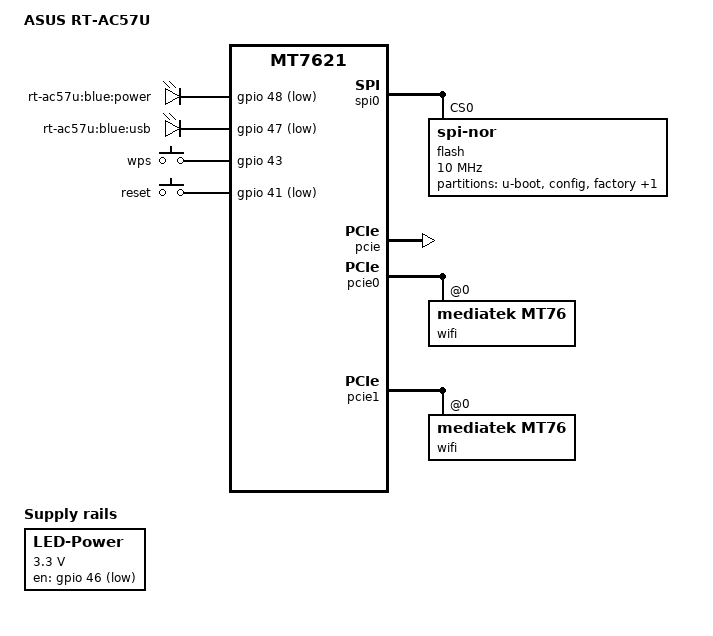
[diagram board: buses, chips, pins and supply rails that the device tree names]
// SPDX-License-Identifier: GPL-2.0-or-later OR MIT
/dts-v1/;

#include "mt7621.dtsi"

#include <dt-bindings/gpio/gpio.h>
#include <dt-bindings/input/input.h>

/ {
	compatible = "asus,rt-ac57u", "mediatek,mt7621-soc";
	model = "ASUS RT-AC57U";

	aliases {
		led-boot = &led_power;
		led-failsafe = &led_power;
		led-running = &led_power;
		led-upgrade = &led_power;
	};

	chosen {
		bootargs = "console=ttyS0,57600";
	};

	leds {
		compatible = "gpio-leds";

		led_power: power {
			label = "rt-ac57u:blue:power";
			gpios = <&gpio 48 GPIO_ACTIVE_LOW>;
		};

		usb {
			label = "rt-ac57u:blue:usb";
			gpios = <&gpio 47 GPIO_ACTIVE_LOW>;
			trigger-sources = <&ehci_port2>;
			linux,default-trigger = "usbport";
		};
	};

	keys {
		compatible = "gpio-keys";

		wps {
			label = "wps";
			gpios = <&gpio 43 GPIO_ACTIVE_HIGH>;
			linux,code = <KEY_WPS_BUTTON>;
			debounce-interval = <60>;
		};

		reset {
			label = "reset";
			gpios = <&gpio 41 GPIO_ACTIVE_LOW>;
			linux,code = <KEY_RESTART>;
			debounce-interval = <60>;
		};
	};

	led-regulator {
		compatible = "regulator-fixed";
		regulator-name = "LED-Power";
		gpio = <&gpio 46 GPIO_ACTIVE_LOW>;
		regulator-min-microvolt = <3300000>;
		regulator-max-microvolt = <3300000>;
		regulator-always-on;
	};
};

&spi0 {
	status = "okay";

	flash@0 {
		compatible = "jedec,spi-nor";
		reg = <0>;
		spi-max-frequency = <10000000>;

		partitions {
			compatible = "fixed-partitions";
			#address-cells = <1>;
			#size-cells = <1>;

			partition@0 {
				label = "u-boot";
				reg = <0x0 0x30000>;
				read-only;
			};

			partition@30000 {
				label = "config";
				reg = <0x30000 0x10000>;
				read-only;
			};

			factory: partition@40000 {
				label = "factory";
				reg = <0x40000 0x10000>;
				read-only;
			};

			partition@50000 {
				compatible = "denx,uimage";
				label = "firmware";
				reg = <0x50000 0xfb0000>;
			};
		};
	};
};

&pcie {
	status = "okay";
};

&pcie0 {
	wifi@0,0 {
		compatible = "mediatek,mt76";
		reg = <0x0000 0 0 0 0>;
		mediatek,mtd-eeprom = <&factory 0x8000>;

		led {
			led-sources = <2>;
			led-active-low;
		};
	};
};

&pcie1 {
	wifi@0,0 {
		compatible = "mediatek,mt76";
		reg = <0x0000 0 0 0 0>;
		mediatek,mtd-eeprom = <&factory 0x0000>;

		led {
			led-active-low;
		};
	};
};

&gmac0 {
	mtd-mac-address = <&factory 0xe000>;
};

&switch0 {
	ports {
		port@0 {
			status = "okay";
			label = "wan";
			mtd-mac-address = <&factory 0xe006>;
		};

		port@1 {
			status = "okay";
			label = "lan1";
		};

		port@2 {
			status = "okay";
			label = "lan2";
		};

		port@3 {
			status = "okay";
			label = "lan3";
		};

		port@4 {
			status = "okay";
			label = "lan4";
		};
	};
};

&state_default {
	gpio {
		groups = "sdhci";
		function = "gpio";
	};
};
